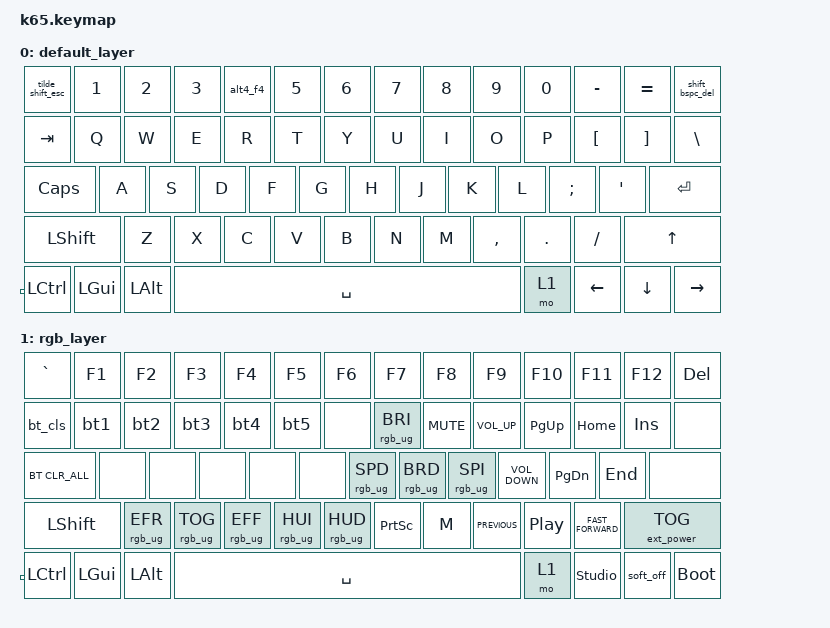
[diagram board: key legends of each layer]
/*
* Copyright (c) 2021 The ZMK Contributors
*
* SPDX-License-Identifier: MIT
*/

#include <behaviors.dtsi>
#include <dt-bindings/zmk/keys.h>
#include <dt-bindings/zmk/bt.h>
#include <dt-bindings/zmk/outputs.h>
#include <dt-bindings/zmk/rgb.h>
#include <dt-bindings/zmk/ext_power.h>

/ {
	macros {
		bt1: macro_bt0_red {
			compatible = "zmk,behavior-macro";
			label = "BT0 + Red LED";
			#binding-cells = <0>;
			bindings = <
			&bt BT_SEL 0
			&rgb_ug RGB_COLOR_HSB(0,100,50)
			>;
		};
		
		bt2: macro_bt1_blue {
			compatible = "zmk,behavior-macro";
			label = "BT1 + Blue LED";
			#binding-cells = <0>;
			bindings = <
			&bt BT_SEL 1
			&rgb_ug RGB_COLOR_HSB(225,100,50)
			>;
		};
		
		bt3: macro_bt2_green {
			compatible = "zmk,behavior-macro";
			label = "BT2 + Green LED";
			#binding-cells = <0>;
			bindings = <
			&bt BT_SEL 2
			&rgb_ug RGB_COLOR_HSB(120,100,50)
			>;
		};
		
		bt4: macro_bt2_yellow {
			compatible = "zmk,behavior-macro";
			label = "BT2 + Yellow LED";
			#binding-cells = <0>;
			bindings = <
			&bt BT_SEL 3
			&rgb_ug RGB_COLOR_HSB(60,100,50)
			>;
		};
		
		bt5: macro_bt2_cyan {
			compatible = "zmk,behavior-macro";
			label = "BT2 + Cyan LED";
			#binding-cells = <0>;
			bindings = <
			&bt BT_SEL 4
			&rgb_ug RGB_COLOR_HSB(180,100,50)
			>;
		};
		
		bt_cls: restore_default_macro {
			compatible = "zmk,behavior-macro";
			#binding-cells = <0>;
			bindings = <
			&rgb_ug RGB_TOG
			&bt BT_CLR
			&macro_wait_time 1300
			&rgb_ug RGB_TOG
			>;
		};
		cedilha: cedilha {
			compatible = "zmk,behavior-macro";
			label = "Cedilha";
			#binding-cells = <0>;
			bindings = <
			&kp LC(U)
			&kp N0
			&kp N0
			&kp E
			&kp N7
			&kp ENTER
			>;
		};
		cedilha_upper: cedilha_upper {
			compatible = "zmk,behavior-macro";
			label = "Cedilha Upper";
			#binding-cells = <0>;
			bindings = <
			&kp LC(U)
			&kp N0
			&kp N0
			&kp C
			&kp N7
			&kp ENTER
			>;
		};
		tilde_shift_esc: tilde_shift_esc {
			compatible = "zmk,behavior-mod-morph";
			label = "Shift+ESC -> ~";
			#binding-cells = <0>;
			bindings = <&kp ESC>, <&kp TILDE>;
			mods = <(MOD_LSFT)>;
		};
		shift_bspc_del: shift_bspc_del {
			compatible = "zmk,behavior-mod-morph";
			label = "Shift+BSPC -> DEL";
			#binding-cells = <0>;
			bindings = <&kp BSPC>, <&kp LS(DEL)>;
			mods = <(MOD_LSFT)>;
		};
		alt4_f4: alt4_f4 {
			compatible = "zmk,behavior-mod-morph";
			label = "ALT+4 -> ALT+F4";
			#binding-cells = <0>;
			bindings = <&kp N4>, <&kp LA(F4)>;
			mods = <(MOD_LALT)>;
		};
	};
	key_overrides {
        up_bspc_shift: up_bspc_shift {
            compatible = "zmk,key-override";
            when-pressed = <&kp LS(BSPC)>;
            keycodes = <UP BSPC>;
        };
    };
	keymap {
		compatible = "zmk,keymap";
		default_layer {
			bindings = <
			&tilde_shift_esc       &kp N1      &kp N2      &kp N3      &alt4_f4    &kp N5      &kp N6      &kp N7      &kp N8      &kp N9      &kp N0      &kp MINUS   &kp EQUAL   &shift_bspc_del
			&kp TAB    &kp Q       &kp W       &kp E       &kp R       &kp T       &kp Y       &kp U       &kp I       &kp O       &kp P       &kp LBKT    &kp RBKT    &kp BSLH
			&kp CAPS   &kp A       &kp S       &kp D       &kp F       &kp G       &kp H       &kp J       &kp K       &kp L       &kp SEMI    &kp SQT     &none       &kp ENTER
			&none      &kp LSHIFT  &kp Z       &kp X       &kp C       &kp V       &kp B       &kp N       &kp M       &kp COMMA   &kp DOT     &kp SLASH   &none       &kp UP
			&kp LCTL   &kp LGUI    &kp LALT    &none       &kp SPACE   &none       &none       &none       &none       &none       &mo 1       &kp LEFT    &kp DOWN    &kp RIGHT
			>;
		};
		
		rgb_layer {
			bindings = <
			&kp GRAVE  		&kp F1        &kp F2         	&kp F3          &kp F4          &kp F5          &kp F6            &kp F7           &kp F8      	 	&kp F9      	   	&kp F10     		&kp F11     		&kp F12     &kp DEL
			&bt_cls    		&bt1		  &bt2				&bt3       	  	&bt4	   		&bt5            &none             &rgb_ug RGB_BRI  &kp C_MUTE   	&kp C_VOLUME_UP  	&kp PG_UP      		&kp HOME   			&kp INSERT 	&none
			&bt BT_CLR_ALL  &none         &none          	&none           &none           &none           &rgb_ug RGB_SPD   &rgb_ug RGB_BRD  &rgb_ug RGB_SPI 	&kp C_VOLUME_DOWN	&kp PG_DN  			&kp END    			&none       &none
			&none      		&kp LSHIFT    &rgb_ug RGB_EFR	&rgb_ug RGB_TOG &rgb_ug RGB_EFF &rgb_ug RGB_HUI &rgb_ug RGB_HUD   &kp PRINTSCREEN  &kp M       	 	&kp C_PREVIOUS	   	&kp C_PLAY_PAUSE 	&kp C_FAST_FORWARD  &none       &ext_power EP_TOG
			&kp LCTL   		&kp LGUI      &kp LALT       	&none           &kp SPACE       &none           &none             &none            &none       	 	&none       	   	&mo 1       		&studio_unlock 		&soft_off   &bootloader
			>;
		};
		
	};
};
